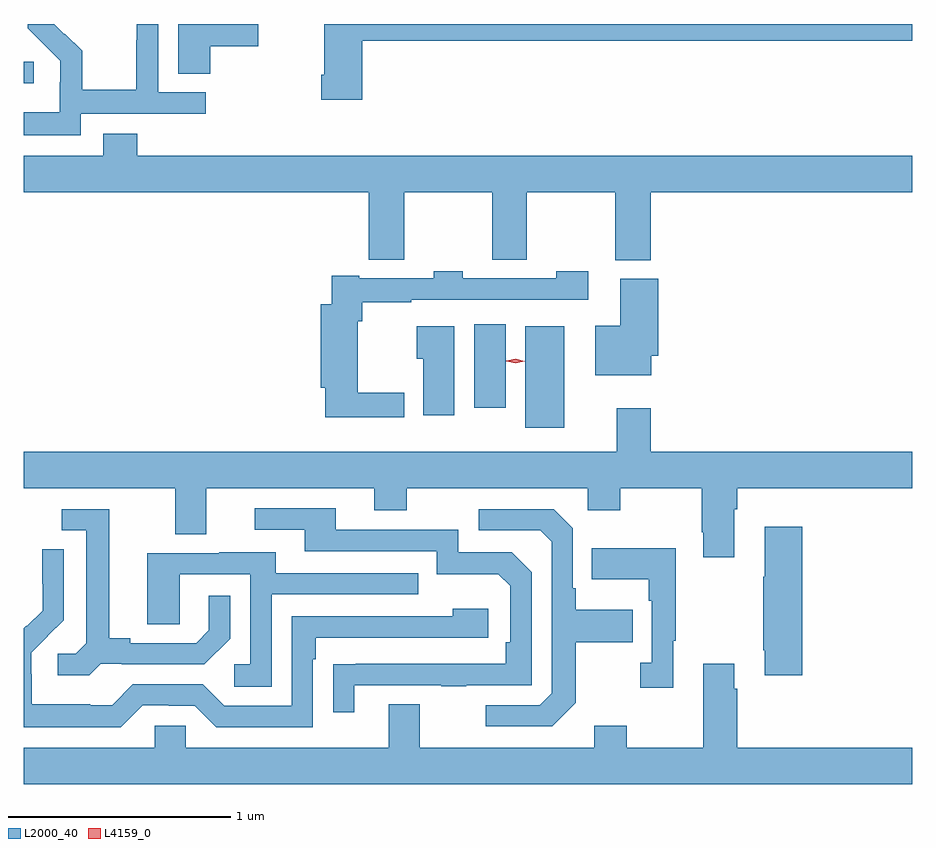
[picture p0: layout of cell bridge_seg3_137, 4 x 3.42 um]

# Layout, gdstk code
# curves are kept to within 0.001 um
import gdstk
lib = gdstk.Library(unit=1e-6, precision=1e-09)
def R(c, l, rs):  # rectangles x0, y0, x1, y1
    for r in rs: c.add(gdstk.rectangle(r[:2], r[2:], *l))
def P(c, l, *ps):  # polygons
    for p in ps: c.add(gdstk.Polygon(p, *l))
L2000_40 = (2000, 40)
L4159_0 = (4159, 0)

bridge_seg3_137 = lib.new_cell('bridge_seg3_137')
R(bridge_seg3_137, L2000_40, [(206.876,683.871,207.052,684.328), (206.645,683.961,206.788,684.337), (204.618,685.421,204.664,685.518)])
P(bridge_seg3_137, L2000_40, [(206.141,685.612),(208.618,685.612),(208.618,685.688),(205.97,685.688),(205.97,685.459),(205.958,685.459),(205.958,685.347),(206.141,685.347)],
  [(205.457,685.589),(205.675,685.589),(205.675,685.688),(205.313,685.688),(205.313,685.465),(205.457,685.465)],
  [(204.876,685.284),(205.438,685.284),(205.438,685.38),(205.224,685.38),(205.224,685.688),(205.128,685.688),(205.128,685.616),(205.126,685.616),(205.126,685.393),(204.881,685.393),(204.881,685.567),(204.804,685.644),(204.801,685.641),(204.755,685.688),(204.636,685.688),(204.636,685.67),(204.782,685.522),(204.782,685.425),(204.78,685.425),(204.78,685.291),(204.618,685.291),(204.618,685.187),(204.876,685.187)],
  [(207.44,684.932),(208.618,684.932),(208.618,685.096),(205.13,685.096),(205.13,685.195),(204.977,685.195),(204.977,685.096),(204.618,685.096),(204.618,684.932),(206.171,684.932),(206.171,684.628),(206.33,684.628),(206.33,684.932),(206.728,684.932),(206.728,684.628),(206.882,684.628),(206.882,684.932),(207.28,684.932),(207.28,684.626),(207.44,684.626)],
  [(206.332,684.028),(206.122,684.028),(206.122,684.35),(206.141,684.35),(206.141,684.435),(206.363,684.435),(206.363,684.447),(207.16,684.447),(207.16,684.576),(207.015,684.576),(207.015,684.543),(206.595,684.543),(206.595,684.576),(206.463,684.576),(206.463,684.543),(206.128,684.543),(206.128,684.556),(206.005,684.556),(206.005,684.427),(205.955,684.427),(205.955,684.051),(205.976,684.051),(205.976,683.918),(206.332,683.918)],
  [(207.442,684.195),(207.473,684.195),(207.473,684.541),(207.302,684.541),(207.302,684.331),(207.191,684.331),(207.191,684.107),(207.442,684.107)],
  [(206.557,684.328),(206.387,684.328),(206.387,684.181),(206.417,684.181),(206.417,683.928),(206.557,683.928)],
  [(207.817,683.504),(207.83,683.504),(207.83,683.6),(208.618,683.6),(208.618,683.764),(207.44,683.764),(207.44,683.959),(207.287,683.959),(207.287,683.764),(204.618,683.764),(204.618,683.6),(205.301,683.6),(205.301,683.392),(205.441,683.392),(205.441,683.6),(206.195,683.6),(206.195,683.501),(206.343,683.501),(206.343,683.6),(207.156,683.6),(207.156,683.501),(207.303,683.501),(207.303,683.6),(207.67,683.6),(207.67,683.401),(207.677,683.401),(207.677,683.289),(207.817,683.289)],
  [(206.107,682.713),(206.497,682.713),(206.497,682.708),(206.609,682.708),(206.609,682.713),(206.904,682.713),(206.904,683.22),(206.814,683.31),(206.574,683.31),(206.574,683.412),(206.023,683.412),(206.023,683.508),(205.659,683.508),(205.659,683.412),(205.883,683.412),(205.883,683.316),(206.478,683.316),(206.478,683.213),(206.755,683.213),(206.808,683.16),(206.808,682.906),(206.788,682.906),(206.788,682.809),(206.011,682.808),(206.011,682.59),(206.107,682.59)],
  [(207.103,682.633),(207.103,682.906),(207.359,682.906),(207.359,683.053),(207.103,683.053),(207.103,683.149),(207.09,683.149),(207.09,683.418),(207.003,683.505),(206.667,683.505),(206.667,683.409),(206.943,683.409),(206.994,683.358),(206.994,682.677),(206.94,682.623),(206.697,682.623),(206.697,682.527),(206.997,682.527)],
  [(204.966,682.809),(205.06,682.809),(205.06,682.806),(205.432,682.806),(205.548,682.922),(205.548,683.116),(205.451,683.116),(205.451,682.959),(205.394,682.902),(205.099,682.902),(205.099,682.925),(205.003,682.925),(205.003,683.505),(204.789,683.505),(204.789,683.409),(204.899,683.409),(204.899,682.901),(204.852,682.854),(204.771,682.854),(204.771,682.757),(204.914,682.757)],
  [(208.121,683.425),(207.953,683.425),(207.953,683.201),(207.946,683.201),(207.946,682.87),(207.953,682.87),(207.953,682.758),(208.121,682.758)],
  [(207.541,682.913),(207.553,682.913),(207.553,683.329),(207.175,683.329),(207.175,683.189),(207.432,683.189),(207.432,683.093),(207.444,683.093),(207.444,682.814),(207.393,682.814),(207.393,682.701),(207.541,682.701)],
  [(205.155,682.623),(205.271,682.623),(205.271,682.62),(205.389,682.62),(205.485,682.524),(205.92,682.524),(205.92,682.829),(205.933,682.829),(205.933,682.926),(206.71,682.926),(206.71,683.056),(206.549,683.056),(206.549,683.022),(205.824,683.022),(205.824,682.62),(205.521,682.62),(205.425,682.716),(205.11,682.716),(205.017,682.623),(204.917,682.623),(204.917,682.627),(204.654,682.627),(204.654,682.761),(204.652,682.761),(204.652,682.858),(204.798,683.006),(204.798,683.324),(204.702,683.324),(204.702,683.17),(204.704,683.17),(204.704,683.048),(204.633,682.977),(204.63,682.98),(204.618,682.968),(204.618,682.523),(205.055,682.523)],
  [(205.734,683.121),(206.393,683.121),(206.393,683.217),(205.753,683.217),(205.753,683.311),(205.499,683.311),(205.499,683.307),(205.175,683.307),(205.175,682.987),(205.32,682.987),(205.32,683.211),(205.638,683.211),(205.638,682.806),(205.566,682.806),(205.566,682.705),(205.734,682.705)],
  [(208.618,682.432),(207.83,682.432),(207.83,682.697),(207.817,682.697),(207.817,682.81),(207.677,682.81),(207.677,682.432),(207.333,682.432),(207.333,682.531),(207.185,682.531),(207.185,682.432),(206.401,682.432),(206.401,682.627),(206.261,682.627),(206.261,682.432),(205.347,682.432),(205.347,682.53),(205.209,682.53),(205.209,682.432),(204.618,682.432),(204.618,682.268),(208.618,682.268)])
P(bridge_seg3_137, L4159_0, [(206.832,684.161),(206.791,684.171),(206.791,684.172),(206.791,684.172),(206.832,684.181),(206.872,684.171),(206.873,684.171),(206.872,684.171)])

lib.write_gds('bridge_seg3_137.gds')
